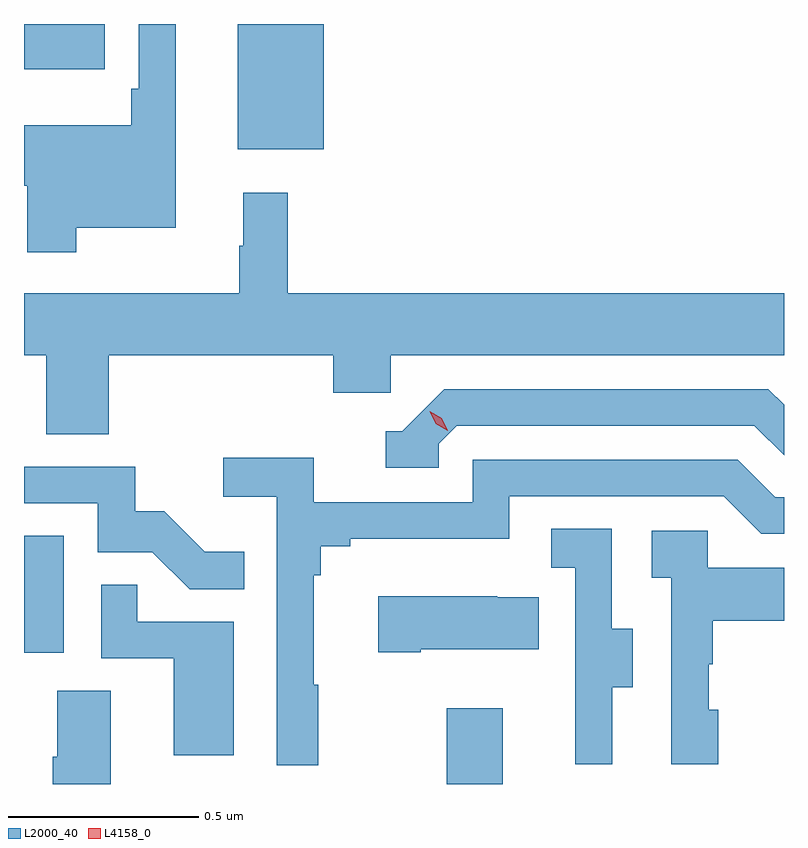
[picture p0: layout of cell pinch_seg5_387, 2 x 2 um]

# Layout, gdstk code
import gdstk
lib = gdstk.Library(unit=1e-6, precision=1e-09)
def R(c, l, rs):  # rectangles x0, y0, x1, y1
    for r in rs: c.add(gdstk.rectangle(r[:2], r[2:], *l))
def P(c, l, *ps):  # polygons
    for p in ps: c.add(gdstk.Polygon(p, *l))
L2000_40 = (2000, 40)
L4158_0 = (4158, 0)

pinch_seg5_387 = lib.new_cell('pinch_seg5_387')
R(pinch_seg5_387, L2000_40, [(953.26,880.94,953.407,881.14), (952.147,881.286,952.252,881.593), (952.709,882.611,952.936,882.94), (952.147,882.821,952.36,882.94)])
P(pinch_seg5_387, L2000_40, [(952.285,882.404),(952.546,882.404),(952.546,882.94),(952.449,882.94),(952.449,882.769),(952.429,882.769),(952.429,882.673),(952.147,882.673),(952.147,882.515),(952.156,882.515),(952.156,882.339),(952.285,882.339)],
  [(952.37,882.068),(952.961,882.068),(952.961,881.97),(953.112,881.97),(953.112,882.068),(954.147,882.068),(954.147,882.232),(952.841,882.232),(952.841,882.496),(952.724,882.496),(952.724,882.356),(952.713,882.356),(952.713,882.232),(952.147,882.232),(952.147,882.068),(952.205,882.068),(952.205,881.86),(952.37,881.86)],
  [(953.238,881.835),(953.286,881.883),(954.069,881.883),(954.147,881.805),(954.147,881.938),(954.106,881.979),(953.253,881.979),(953.142,881.868),(953.099,881.868),(953.099,881.772),(953.238,881.772)],
  [(952.921,881.201),(952.909,881.201),(952.909,881.489),(952.928,881.489),(952.928,881.566),(953.005,881.566),(953.005,881.585),(953.424,881.585),(953.424,881.697),(953.988,881.697),(954.087,881.598),(954.147,881.598),(954.147,881.694),(954.124,881.694),(954.025,881.793),(953.328,881.793),(953.328,881.682),(952.91,881.682),(952.91,881.798),(952.671,881.798),(952.671,881.696),(952.812,881.696),(952.812,880.989),(952.921,880.989)],
  [(952.727,881.551),(952.623,881.551),(952.516,881.658),(952.44,881.658),(952.44,881.775),(952.147,881.775),(952.147,881.679),(952.341,881.679),(952.341,881.55),(952.485,881.55),(952.583,881.452),(952.727,881.452)],
  [(953.695,881.194),(953.749,881.194),(953.749,881.349),(953.694,881.349),(953.694,881.612),(953.535,881.612),(953.535,881.509),(953.598,881.509),(953.598,881.205),(953.597,881.205),(953.597,880.992),(953.695,880.992)],
  [(953.974,881.136),(953.949,881.136),(953.949,881.255),(953.959,881.255),(953.959,881.369),(954.147,881.369),(954.147,881.509),(953.946,881.509),(953.946,881.607),(953.799,881.607),(953.799,881.483),(953.85,881.483),(953.85,880.992),(953.974,880.992)],
  [(952.699,881.367),(952.445,881.367),(952.445,881.465),(952.35,881.465),(952.35,881.271),(952.541,881.271),(952.541,881.016),(952.699,881.016)],
  [(953.191,881.294),(953.501,881.294),(953.501,881.431),(953.393,881.431),(953.393,881.434),(953.079,881.434),(953.079,881.287),(953.191,881.287)],
  [(952.375,881.186),(952.235,881.186),(952.235,881.012),(952.223,881.012),(952.223,880.94),(952.375,880.94)])
P(pinch_seg5_387, L4158_0, [(953.262,881.869),(953.231,881.888),(953.215,881.921),(953.215,881.921),(953.215,881.921),(953.246,881.902),(953.262,881.87),(953.262,881.869)])

lib.write_gds('pinch_seg5_387.gds')
